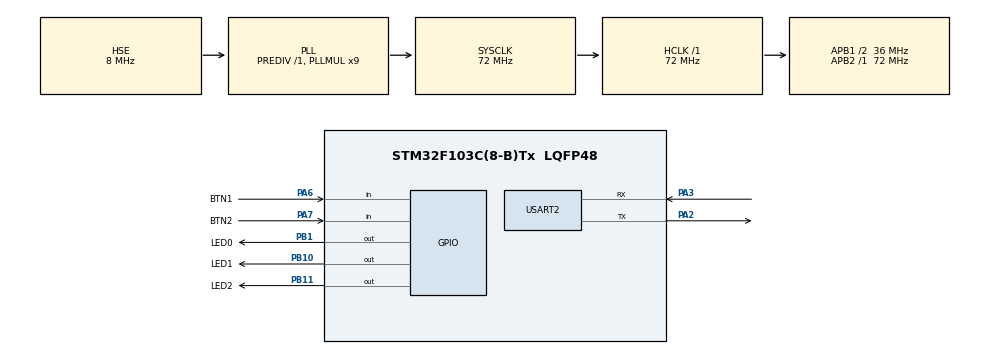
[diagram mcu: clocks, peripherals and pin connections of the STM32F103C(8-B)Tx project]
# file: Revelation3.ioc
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Dma.Request0=USART2_TX
Dma.USART2_TX.0.Direction=DMA_MEMORY_TO_PERIPH
Dma.USART2_TX.0.Instance=DMA1_Channel7
Dma.USART2_TX.0.MemDataAlignment=DMA_MDATAALIGN_BYTE
Dma.USART2_TX.0.MemInc=DMA_MINC_ENABLE
Dma.USART2_TX.0.Mode=DMA_NORMAL
Dma.USART2_TX.0.PeriphDataAlignment=DMA_PDATAALIGN_BYTE
Dma.USART2_TX.0.PeriphInc=DMA_PINC_DISABLE
Dma.USART2_TX.0.Priority=DMA_PRIORITY_LOW
Mcu.Family=STM32F1
Mcu.Name=STM32F103C(8-B)Tx
Mcu.Package=LQFP48
NVIC.DMA1_Channel7_IRQn=true\:0\:0\:false\:false\:true\:false\:true\:true
NVIC.PriorityGroup=NVIC_PRIORITYGROUP_4
NVIC.USART2_IRQn=true\:0\:0\:false\:false\:true\:true\:true\:true
PA13.Mode=Serial_Wire
PA13.Signal=SYS_JTMS-SWDIO
PA14.Mode=Serial_Wire
PA14.Signal=SYS_JTCK-SWCLK
PA2.Mode=Asynchronous
PA2.Signal=USART2_TX
PA3.Mode=Asynchronous
PA3.Signal=USART2_RX
PA6.GPIO_Label=BTN1
PA6.GPIO_PuPd=GPIO_PULLUP
PA6.Signal=GPIO_Input
PA7.GPIO_Label=BTN2
PA7.GPIO_PuPd=GPIO_PULLUP
PA7.Signal=GPIO_Input
PB1.GPIO_Label=LED0
PB1.PinState=GPIO_PIN_RESET
PB1.Signal=GPIO_Output
PB10.GPIO_Label=LED1
PB10.PinState=GPIO_PIN_RESET
PB10.Signal=GPIO_Output
PB11.GPIO_Label=LED2
PB11.Signal=GPIO_Output
PB8.Signal=I2C1_SCL
PB9.Signal=I2C1_SDA
PC14-OSC32_IN.Mode=LSE-External-Oscillator
PC14-OSC32_IN.Signal=RCC_OSC32_IN
PC15-OSC32_OUT.Mode=LSE-External-Oscillator
PC15-OSC32_OUT.Signal=RCC_OSC32_OUT
PD0-OSC_IN.Mode=HSE-External-Oscillator
PD0-OSC_IN.Signal=RCC_OSC_IN
PD1-OSC_OUT.Mode=HSE-External-Oscillator
PD1-OSC_OUT.Signal=RCC_OSC_OUT
ProjectManager.HeapSize=0x200
ProjectManager.StackSize=0x400
ProjectManager.TargetToolchain=STM32CubeIDE
RCC.AHBFreq_Value=72000000
RCC.APB1CLKDivider=RCC_HCLK_DIV2
RCC.APB1Freq_Value=36000000
RCC.APB1TimFreq_Value=72000000
RCC.APB2Freq_Value=72000000
RCC.APB2TimFreq_Value=72000000
RCC.HCLKFreq_Value=72000000
RCC.PLLMUL=RCC_PLL_MUL9
RCC.PLLSourceVirtual=RCC_PLLSOURCE_HSE
RCC.SYSCLKFreq_VALUE=72000000
RCC.SYSCLKSource=RCC_SYSCLKSOURCE_PLLCLK
RCC.USBFreq_Value=72000000
USART2.VirtualMode=VM_ASYNC
board=custom

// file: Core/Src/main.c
/* USER CODE BEGIN Header */
/**
  ******************************************************************************
  * @file           : main.c
  * @brief          : Main program body
  ******************************************************************************
  * @attention
  *
  * Copyright (c) 2026 STMicroelectronics.
  * All rights reserved.
  *
  * This software is licensed under terms that can be found in the LICENSE file
  * in the root directory of this software component.
  * If no LICENSE file comes with this software, it is provided AS-IS.
  *
  ******************************************************************************
  */
/* USER CODE END Header */
#include "main.h"
#include "dma.h"
#include "usart.h"
#include "gpio.h"
#include "OLED.h"
/* USER CODE BEGIN Includes */
#include <string.h>
#include <stdio.h>
/* USER CODE END Includes */

/* USER CODE BEGIN PV */

volatile uint32_t last = 0;
int led_pos = 0;
volatile int run = 1;
volatile int dir = 1;
volatile uint16_t step = 500;
volatile char message[60];

typedef struct      /* 自定义结构体 */
{
  uint8_t head;
  uint8_t RUN;
  uint8_t DIR;
  uint8_t STEP_L;
  uint8_t STEP_H;
  uint8_t CHECK;
} Packet;

Packet pkt;
uint8_t byte;
uint8_t cnt = 0;

volatile uint8_t ack = 0;
volatile uint8_t dirty = 1;   // 1 = 屏幕需要刷新
volatile uint8_t busy = 0;

char state1[10] = "run  ";
char state0[10] = "stop ";
char rank1[10] = "forward ";
char rank0[10] = "break   ";

/* USER CODE END PV */

void SystemClock_Config(void);
/* USER CODE BEGIN PFP */
static void led(int n);
static void keys();
static void cmd();
static void show();
/* USER CODE END PFP */

/* USER CODE BEGIN 0 */

static void led(const int n)   /* 灯的定量 */
{
  HAL_GPIO_WritePin(LED0_GPIO_Port, LED0_Pin, n == 0 ? GPIO_PIN_SET : GPIO_PIN_RESET);
  HAL_GPIO_WritePin(LED1_GPIO_Port, LED1_Pin, n == 1 ? GPIO_PIN_SET : GPIO_PIN_RESET);
  HAL_GPIO_WritePin(LED2_GPIO_Port, LED2_Pin, n == 2 ? GPIO_PIN_SET : GPIO_PIN_RESET);
}

/**
  * @brief  扫描两个按键（消抖，按一次只动作一次）
  * @note   按键接地上拉：松开 = 1，按下 = 0
  */
static void keys()
{
  static uint8_t old1 = 1, stable1 = 1;   /* 按键 1：上次电平、确认过的电平 */
  static uint8_t old2 = 1, stable2 = 1;   /* 按键 2：同上 */
  static uint32_t t1 = 0, t2 = 0;         /* 电平变化的时刻 */

  uint32_t now = HAL_GetTick();
  uint8_t b1 = HAL_GPIO_ReadPin(BTN1_GPIO_Port, BTN1_Pin);
  uint8_t b2 = HAL_GPIO_ReadPin(BTN2_GPIO_Port, BTN2_Pin);

  /* ---- 按键 1：切换方向 ---- */
  if (b1 != old1)                 /* 电平刚变化，重新开始计时 */
  {
    old1 = b1;
    t1 = now;
  }
  if (now - t1 >= 20 && b1 != stable1)   /* 稳定 20ms 才认 */
  {
    stable1 = b1;
    if (b1 == 0)                  /* 只在按下（低电平）那一刻动作 */
    {
      dir = -dir;
      last = now;
      dirty = 1;
      ack = 1;
    }
  }

  /* ---- 按键 2：切换暂停 / 继续（写法同上） ---- */
  if (b2 != old2)
  {
    old2 = b2;
    t2 = now;
  }
  if (now - t2 >= 20 && b2 != stable2)
  {
    stable2 = b2;
    if (b2 == 0)
    {
      run = !run;
      last = now;
      dirty = 1;
      ack = 1;
    }
  }
}

static void cmd()
{
  uint8_t sum;
  uint16_t ms;

  sum = (uint8_t)((pkt.head + pkt.RUN + pkt.DIR + pkt.STEP_L + pkt.STEP_H) % 256);
  if (sum != pkt.CHECK)                                 /* 效验不通过则不执行 */
  {return;}

  ms = ((uint16_t)pkt.STEP_H << 8) | pkt.STEP_L;        /* 高低8字节拼为16位延时时间 */

  if (run == 0 && pkt.RUN == 1)                         /* 暂停启动，防灯跳闪 */
  {last = HAL_GetTick();}

  run = pkt.RUN;
  dir = (pkt.DIR == 1) ? -1 : 1;
  step = ms;
  ack = 1;
  dirty = 1;
}

static void show()
{
  uint16_t s = step;    /* 先存一份，防止画到一半被中断改掉 */

  /* 第 1 行：运行状态。RUN 后面补 2 个空格，和 PAUSE 一样宽 */
  OLED_ShowString(1, 1, "STATE: ");
  OLED_ShowString(1, 8, run ? "Run " : "Stop");

  /* 第 2 行：方向 */
  OLED_ShowString(2, 1, "DIR:   ");
  OLED_ShowString(2, 8, dir == 1 ? "Forward" : "Break  ");

  /* 第 3 行：间隔。先按 4 位画，小于 1000 时把最高位的 0 抹成空格 */
  OLED_ShowString(3, 1, "STEP:  ");
  OLED_ShowNum(3, 8, s, 4);

  if (run == 1 && dir == 1)
    sprintf(message,"%s  %s  %dms  %d ",state1,rank1,s,led_pos);
  else if (run == 0 && dir == 1)
    sprintf(message,"%s  %s  %dms  %d ",state0,rank1,s,led_pos);
  else if (run == 1 && dir == -1)
    sprintf(message,"%s  %s  %dms  %d ",state1,rank0,s,led_pos);
  else if (run == 0 && dir == -1)
    sprintf(message,"%s  %s  %dms  %d ",state0,rank0,s,led_pos);

  if (s < 1000)
  {
    OLED_ShowChar(3, 8, ' ');
  }
  OLED_ShowString(3, 12, "ms");

  /* 第 4 行：当前灯，直接显示 0/1/2（对应 LED0/LED1/LED2） */
  OLED_ShowString(4, 1, "LED:   ");
  OLED_ShowNum(4, 8, led_pos, 1);
}

/* USER CODE END 0 */

int main(void)
{

  /* MCU Configuration--------------------------------------------------------*/

  /* Reset of all peripherals, Initializes the Flash interface and the Systick. */
  HAL_Init();

  /* Configure the system clock */
  SystemClock_Config();

  /* Initialize all configured peripherals */
  MX_GPIO_Init();
  MX_DMA_Init();
  MX_USART2_UART_Init();
  /* USER CODE BEGIN 2 */

  led(0);
  HAL_UART_Receive_IT(&huart2, &byte, 1); /* 上电初始化，每次接收 1 个字节 */
  OLED_Init();
  show();

  /* USER CODE END 2 */

  /* Infinite loop */
  /* USER CODE BEGIN WHILE */
  while (1)
  {
    keys();

    if (dirty == 1)
    {
      dirty = 0;
      show();
    }

    if (run == 1 && HAL_GetTick() - last >= step)    /* 描述时间点，实现非阻塞 */
    {
      last = HAL_GetTick();                          /* 重置初始时间 */
      led_pos += dir;                                /* 累加dir对饮的数实现0、1、2的循环 */

      if (led_pos > 2)
      {led_pos = 0;}
      if (led_pos < 0)
      {led_pos = 2;}

      led(led_pos);
      OLED_ShowNum(4, 8, led_pos, 1);   /* 新增：只改 LED 编号这一位 */
    }

    if (ack == 1 && busy == 0 )
    {
      ack = 0;
      busy = 1;
      HAL_UART_Transmit_DMA(&huart2, message, sizeof(message));
    }

    /* USER CODE END WHILE */

  }
}

void SystemClock_Config(void)
{
  RCC_OscInitTypeDef RCC_OscInitStruct = {0};
  RCC_ClkInitTypeDef RCC_ClkInitStruct = {0};

  /** Initializes the RCC Oscillators according to the specified parameters
  * in the RCC_OscInitTypeDef structure.
  */
  RCC_OscInitStruct.OscillatorType = RCC_OSCILLATORTYPE_HSE;
  RCC_OscInitStruct.HSEState = RCC_HSE_ON;
  RCC_OscInitStruct.HSEPredivValue = RCC_HSE_PREDIV_DIV1;
  RCC_OscInitStruct.HSIState = RCC_HSI_ON;
  RCC_OscInitStruct.PLL.PLLState = RCC_PLL_ON;
  RCC_OscInitStruct.PLL.PLLSource = RCC_PLLSOURCE_HSE;
  RCC_OscInitStruct.PLL.PLLMUL = RCC_PLL_MUL9;
  if (HAL_RCC_OscConfig(&RCC_OscInitStruct) != HAL_OK)
  {
    Error_Handler();
  }

  /** Initializes the CPU, AHB and APB buses clocks
  */
  RCC_ClkInitStruct.ClockType = RCC_CLOCKTYPE_HCLK|RCC_CLOCKTYPE_SYSCLK
                              |RCC_CLOCKTYPE_PCLK1|RCC_CLOCKTYPE_PCLK2;
  RCC_ClkInitStruct.SYSCLKSource = RCC_SYSCLKSOURCE_PLLCLK;
  RCC_ClkInitStruct.AHBCLKDivider = RCC_SYSCLK_DIV1;
  RCC_ClkInitStruct.APB1CLKDivider = RCC_HCLK_DIV2;
  RCC_ClkInitStruct.APB2CLKDivider = RCC_HCLK_DIV1;

  if (HAL_RCC_ClockConfig(&RCC_ClkInitStruct, FLASH_LATENCY_2) != HAL_OK)
  {
    Error_Handler();
  }
}

/* USER CODE BEGIN 4 */

void HAL_UART_RxCpltCallback(UART_HandleTypeDef *huart)  /* 接收的回调函数 */
{
  if (cnt == 0 && byte != 0xAA)                          /* 防帧头出错的保护措施 */
  {}
  else
  {
    ((uint8_t *)&pkt)[cnt] = byte;   /* 按顺序写进结构体的第cnt个字节 */
    cnt++;

    if (cnt >= sizeof(pkt))       /* 6 个字节集齐一个完整包 */
    {
      cnt = 0;
      cmd();                      /* 校验并执行 */
    }
  }
  HAL_UART_Receive_IT(&huart2, &byte, 1);   /* 重新打开接收，才能收下一个字节 */
}

void HAL_UART_TxCpltCallback(UART_HandleTypeDef *huart)
{
  busy = 0;
}

/* USER CODE END 4 */

void Error_Handler(void)
{
  __disable_irq();
  while (1)
  {
  }
}
